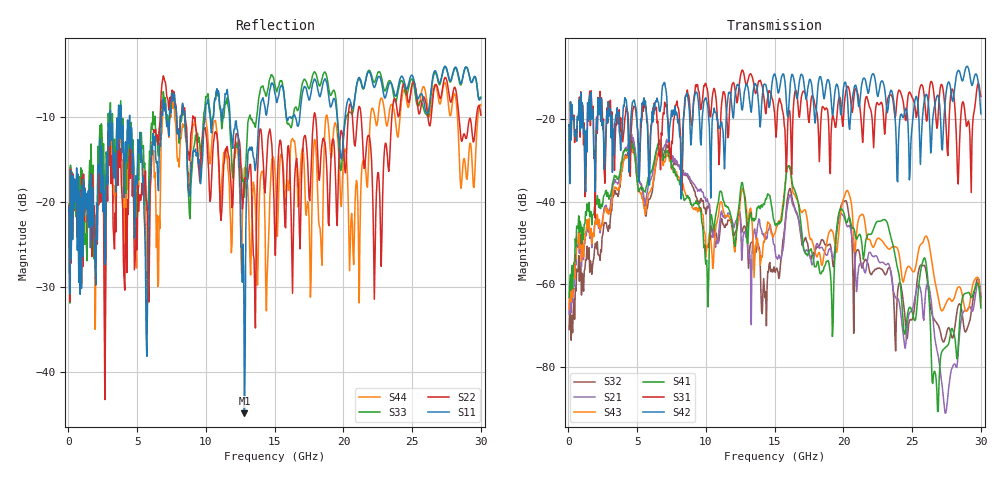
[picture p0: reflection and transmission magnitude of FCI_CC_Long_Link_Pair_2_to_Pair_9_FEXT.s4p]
! FCI USA LLC
! FCI_CC_Long_Link_Pair_2_to_Pair_9_FEXT.s4p
! PART DESCRIPTION: FCI Connector Concept 0.70 m Simulated Channel Model
! FREQUENCY RANGE: 50 MHz to 30 GHz in 50 MHz frequency steps
! PORT DEFINITIONS:
! Port  1  ----->  TX  Pin D5(Side A) -- Pin A5(Side B)  RX  <-----  Port  2
! Port  3  ----->  TX  Pin E5(Side A) -- Pin B5(Side B)  RX  <-----  Port  4
! Information
! FCI endeavors to use its reasonable efforts to place accurate and
! up-to-date information in this Touchstone file.  However, this file is
! provided on an as is basis.  FCI GIVES NO WARRANTY, EXPRESS OR
! IMPLIED, WITH RESPECT TO ANY INFORMATION PROVIDED IN THIS FILE,
! INCLUDING BUT NOT LIMITED TO THE IMPLIED WARRANTIES OF
! MERCHANTABILITY, FITNESS FOR A PARTICULAR PURPOSE OR NON-INFRINGEMENT.
! FCI SHALL NOT BE LIABLE FOR ANY DIRECT, SPECIAL, INDIRECT,
! CONSEQUENTIAL, PUNITIVE OR OTHER DAMAGES BASED ON USE OF THIS FILE.
#	Hz	S	RI	R	50
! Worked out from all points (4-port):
!   600 points, 50 MHz to 30 GHz, reference 50 ohm
!   strongest paths, dB at 50 MHz, 7.55 GHz, 15.05 GHz, 22.55 GHz, 30 GHz:
!     S42: -21.4, -19.4, -9.5, -14.1, -18.7
!     S31: -21.4, -26.0, -21.5, -16.5, -14.5
!     S41: -63.2, -31.2, -45.8, -44.8, -65.8
!     S43: -66.1, -31.4, -47.5, -48.9, -65.0
!     S21: -67.2, -29.0, -52.4, -54.3, -63.1
!     S32: -71.0, -29.8, -57.2, -56.2, -63.9
!   lowest |S11| = -44.8 dB at 12.8 GHz (marker M1), VSWR 1.01, Z = 50.6 - j0.0539 ohm
!   |S11| at or under -10 dB: start of sweep to 3.041 GHz; 4.452 GHz to 6.75 GHz (2.298 GHz wide, 41 % of centre); 11.75 GHz to 13.89 GHz (2.142 GHz wide, 16.7 % of centre)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
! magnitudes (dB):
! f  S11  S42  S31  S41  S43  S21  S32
! 50 MHz  -20.6  -21.4  -21.4  -63.2  -66.1  -67.2  -71.0
! 4.6 GHz  -11.3  -17.8  -21.3  -25.9  -26.9  -23.7  -24.7
! 10.05 GHz  -8.5  -15.7  -12.3  -54.2  -51.5  -39.9  -42.2
! 12.8 GHz  -44.8  -13.3  -9.7  -38.6  -37.9  -47.3  -45.9
! 14.8 GHz  -6.0  -11.6  -14.9  -41.5  -47.9  -47.6  -56.4
! 26.6 GHz  -4.7  -17.4  -14.4  -81.1  -58.2  -71.7  -68.5
! 30 GHz  -7.8  -18.7  -14.5  -65.8  -65.0  -63.1  -63.9
